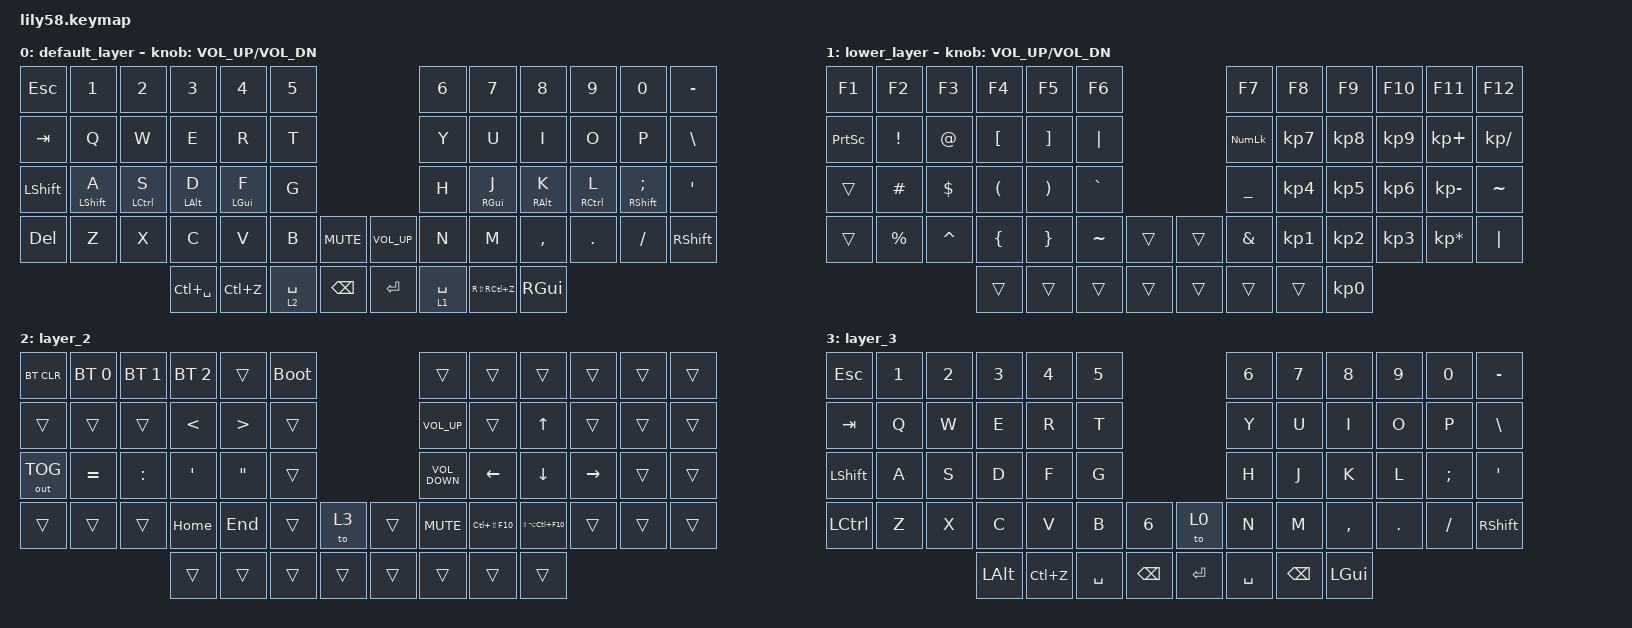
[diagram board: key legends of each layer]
/*
 * Copyright (c) 2020 The ZMK Contributors
 *
 * SPDX-License-Identifier: MIT
 */

#include <behaviors.dtsi>
#include <dt-bindings/zmk/bt.h>
#include <dt-bindings/zmk/keys.h>
#include <dt-bindings/zmk/outputs.h>

/ {
    behaviors {
        ht_tp: ht_tp {
            compatible = "zmk,behavior-hold-tap";
            label = "HT_TP";
            bindings = <&kp>, <&kp>;

            #binding-cells = <2>;
            tapping-term-ms = <150>;
            flavor = "tap-preferred";
            hold-trigger-key-positions = <25 26 27 28 31 32 33 34>;
        };
    };

    keymap {
        compatible = "zmk,keymap";

        default_layer {
            // ------------------------------------------------------------------------------------------------------------
            // |  ESC  |  1  |  2  |  3   |  4   |  5   |                   |  6   |  7    |  8    |  9   |   0   |   `   |
            // |  TAB  |  Q  |  W  |  E   |  R   |  T   |                   |  Y   |  U    |  I    |  O   |   P   |   -   |
            // |  CTRL |  A  |  S  |  D   |  F   |  G   |                   |  H   |  J    |  K    |  L   |   ;   |   '   |
            // | SHIFT |  Z  |  X  |  C   |  V   |  B   |   "["  |  |  "]"  |  N   |  M    |  ,    |  .   |   /   | SHIFT |
            //                     | ALT  | GUI  | LOWER|  SPACE |  | ENTER | RAISE| BSPC  | GUI   |

            bindings = <
&kp ESC     &kp N1               &kp N2          &kp N3             &kp N4         &kp N5                                       &kp N6       &kp N7         &kp N8         &kp N9          &kp N0             &kp MINUS
&kp TAB     &kp Q                &kp W           &kp E              &kp R          &kp T                                        &kp Y        &kp U          &kp I          &kp O           &kp P              &kp BACKSLASH
&kp LSHFT   &ht_tp LEFT_SHIFT A  &ht_tp LCTRL S  &ht_tp LEFT_ALT D  &ht_tp LGUI F  &kp G                                        &kp H        &ht_tp RGUI J  &ht_tp RALT K  &ht_tp RCTRL L  &ht_tp RSHFT SEMI  &kp SQT
&kp DELETE  &kp Z                &kp X           &kp C              &kp V          &kp B        &kp C_MUTE     &kp C_VOLUME_UP  &kp N        &kp M          &kp COMMA      &kp DOT         &kp FSLH           &kp RIGHT_SHIFT
                                                 &kp LC(SPACE)      &kp LC(Z)      &lt 2 SPACE  &kp BACKSPACE  &kp ENTER        &lt 1 SPACE  &kp RS(RC(Z))  &kp RGUI
            >;

            sensor-bindings = <&inc_dec_kp C_VOL_UP C_VOL_DN>;
        };

        lower_layer {
            // ------------------------------------------------------------------------------------------------------------
            // | BTCLR | BT1 | BT2 |  BT3 |  BT4 |  BT5 |                   |      |       |       |      |       |       |
            // |  F1   |  F2 |  F3 |  F4  |  F5  |  F6  |                   |  F7  |  F8   |  F9   |  F10 |  F11  |  F12  |
            // |   `   |  !  |  @  |  #   |  $   |  %   |                   |  ^   |  &    |  *    |  (   |   )   |   ~   |
            // |       |     |     |      |      |      |        |  |       |      |  _    |  +    |  {   |   }   |  "|"  |
            //                     |      |      |      |        |  |       |      |       |       |

            bindings = <
&kp F1           &kp F2       &kp F3      &kp F4                &kp F5                 &kp F6                     &kp F7          &kp F8           &kp F9           &kp F10          &kp F11          &kp F12
&kp PRINTSCREEN  &kp EXCL     &kp AT      &kp LBKT              &kp RBKT               &kp PIPE                   &kp KP_NUMLOCK  &kp KP_NUMBER_7  &kp KP_NUMBER_8  &kp KP_NUMBER_9  &kp KP_PLUS      &kp KP_DIVIDE
&trans           &kp HASH     &kp DOLLAR  &kp LEFT_PARENTHESIS  &kp RIGHT_PARENTHESIS  &kp GRAVE                  &kp UNDER       &kp KP_NUMBER_4  &kp KP_NUMBER_5  &kp KP_NUMBER_6  &kp KP_MINUS     &kp TILDE
&trans           &kp PERCENT  &kp CARET   &kp LBRC              &kp RBRC               &kp TILDE  &trans  &trans  &kp AMPERSAND   &kp KP_NUMBER_1  &kp KP_NUMBER_2  &kp KP_NUMBER_3  &kp KP_MULTIPLY  &kp PIPE
                                          &trans                &trans                 &trans     &trans  &trans  &trans          &trans           &kp KP_NUMBER_0
            >;

            sensor-bindings = <&inc_dec_kp C_VOL_UP C_VOL_DN>;
        };

        layer_2 {
            bindings = <
&bt BT_CLR    &bt BT_SEL 0  &bt BT_SEL 1  &bt BT_SEL 2      &trans             &bootloader                  &trans             &trans           &trans               &trans     &trans  &trans
&trans        &trans        &trans        &kp LT            &kp GT             &trans                       &kp C_VOLUME_UP    &trans           &kp UP               &trans     &trans  &trans
&out OUT_TOG  &kp EQUAL     &kp COLON     &kp SINGLE_QUOTE  &kp DOUBLE_QUOTES  &trans                       &kp C_VOLUME_DOWN  &kp LEFT         &kp DOWN             &kp RIGHT  &trans  &trans
&trans        &trans        &trans        &kp HOME          &kp END            &trans       &to 3   &trans  &kp C_MUTE         &kp LC(LS(F10))  &kp LS(LA(LC(F10)))  &trans     &trans  &trans
                                          &trans            &trans             &trans       &trans  &trans  &trans             &trans           &trans
            >;
        };

        layer_3 {
            bindings = <
&kp ESC    &kp N1  &kp N2  &kp N3        &kp N4     &kp N5                        &kp N6     &kp N7    &kp N8     &kp N9   &kp N0    &kp MINUS
&kp TAB    &kp Q   &kp W   &kp E         &kp R      &kp T                         &kp Y      &kp U     &kp I      &kp O    &kp P     &kp BSLH
&kp LSHFT  &kp A   &kp S   &kp D         &kp F      &kp G                         &kp H      &kp J     &kp K      &kp L    &kp SEMI  &kp SQT
&kp LCTRL  &kp Z   &kp X   &kp C         &kp V      &kp B      &kp N6    &to 0    &kp N      &kp M     &kp COMMA  &kp DOT  &kp FSLH  &kp RSHFT
                           &kp LEFT_ALT  &kp LC(Z)  &kp SPACE  &kp BSPC  &kp RET  &kp SPACE  &kp BSPC  &kp LGUI
            >;
        };
    };
};
